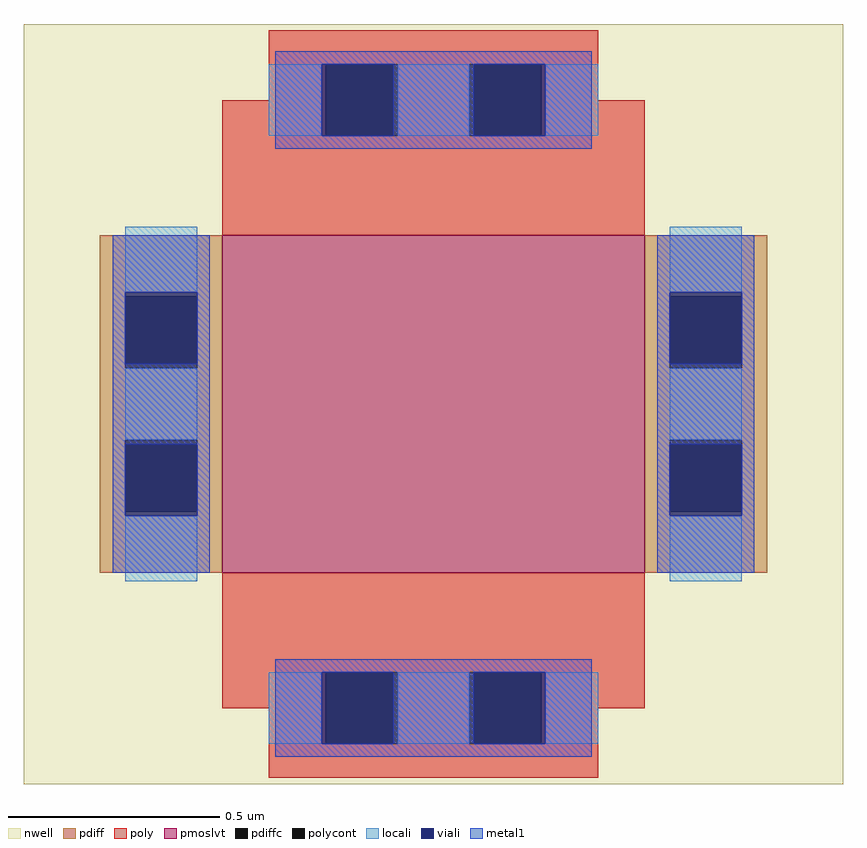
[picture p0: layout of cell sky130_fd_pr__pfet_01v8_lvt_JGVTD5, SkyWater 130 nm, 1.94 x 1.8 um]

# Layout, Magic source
magic
tech sky130A
magscale 1 2
<< nwell >>
rect -194 -180 194 180
<< pmoslvt >>
rect -100 -80 100 80
<< pdiff >>
rect -158 51 -100 80
rect -158 17 -146 51
rect -112 17 -100 51
rect -158 -17 -100 17
rect -158 -51 -146 -17
rect -112 -51 -100 -17
rect -158 -80 -100 -51
rect 100 51 158 80
rect 100 17 112 51
rect 146 17 158 51
rect 100 -17 158 17
rect 100 -51 112 -17
rect 146 -51 158 -17
rect 100 -80 158 -51
<< pdiffc >>
rect -146 17 -112 51
rect -146 -51 -112 -17
rect 112 17 146 51
rect 112 -51 146 -17
<< poly >>
rect -78 161 78 177
rect -78 144 -51 161
rect -100 127 -51 144
rect -17 127 17 161
rect 51 144 78 161
rect 51 127 100 144
rect -100 80 100 127
rect -100 -127 100 -80
rect -100 -144 -51 -127
rect -78 -161 -51 -144
rect -17 -161 17 -127
rect 51 -144 100 -127
rect 51 -161 78 -144
rect -78 -177 78 -161
<< polycont >>
rect -51 127 -17 161
rect 17 127 51 161
rect -51 -161 -17 -127
rect 17 -161 51 -127
<< locali >>
rect -78 127 -53 161
rect -17 127 17 161
rect 53 127 78 161
rect -146 53 -112 84
rect -146 -17 -112 17
rect -146 -84 -112 -53
rect 112 53 146 84
rect 112 -17 146 17
rect 112 -84 146 -53
rect -78 -161 -53 -127
rect -17 -161 17 -127
rect 53 -161 78 -127
<< viali >>
rect -53 127 -51 161
rect -51 127 -19 161
rect 19 127 51 161
rect 51 127 53 161
rect -146 51 -112 53
rect -146 19 -112 51
rect -146 -51 -112 -19
rect -146 -53 -112 -51
rect 112 51 146 53
rect 112 19 146 51
rect 112 -51 146 -19
rect 112 -53 146 -51
rect -53 -161 -51 -127
rect -51 -161 -19 -127
rect 19 -161 51 -127
rect 51 -161 53 -127
<< metal1 >>
rect -75 161 75 167
rect -75 127 -53 161
rect -19 127 19 161
rect 53 127 75 161
rect -75 121 75 127
rect -152 53 -106 80
rect -152 19 -146 53
rect -112 19 -106 53
rect -152 -19 -106 19
rect -152 -53 -146 -19
rect -112 -53 -106 -19
rect -152 -80 -106 -53
rect 106 53 152 80
rect 106 19 112 53
rect 146 19 152 53
rect 106 -19 152 19
rect 106 -53 112 -19
rect 146 -53 152 -19
rect 106 -80 152 -53
rect -75 -127 75 -121
rect -75 -161 -53 -127
rect -19 -161 19 -127
rect 53 -161 75 -127
rect -75 -167 75 -161
<< end >>
